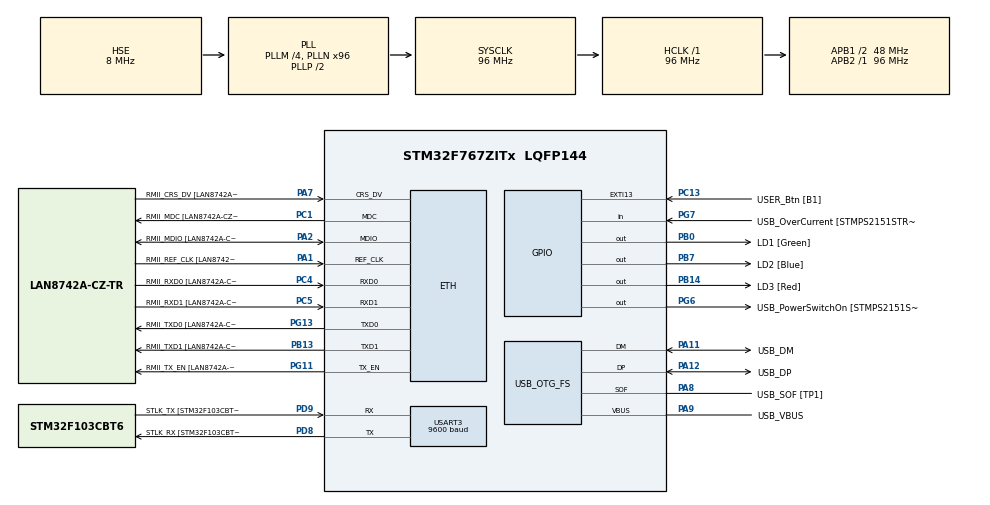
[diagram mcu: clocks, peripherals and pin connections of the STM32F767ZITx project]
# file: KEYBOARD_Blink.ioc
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ETH.MediaInterface=HAL_ETH_RMII_MODE
ETH.PHY_Name=LAN8742A_PHY_ADDRESS
ETH.PHY_Value=0
ETH.PhyAddress=0
Mcu.Family=STM32F7
Mcu.Name=STM32F767ZITx
Mcu.Package=LQFP144
NVIC.PriorityGroup=NVIC_PRIORITYGROUP_4
NVIC.USART3_IRQn=true\:0\:0\:false\:false\:true\:true\:true\:true
PA1.GPIO_Label=RMII_REF_CLK [LAN8742A-CZ-TR_REFCLK0]
PA1.Mode=RMII
PA1.Signal=ETH_REF_CLK
PA10.GPIO_Label=USB_ID
PA10.Signal=USB_OTG_FS_ID
PA11.GPIO_Label=USB_DM
PA11.Mode=Device_Only
PA11.Signal=USB_OTG_FS_DM
PA12.GPIO_Label=USB_DP
PA12.Mode=Device_Only
PA12.Signal=USB_OTG_FS_DP
PA13.GPIO_Label=TMS
PA13.Mode=Serial_Wire
PA13.Signal=SYS_JTMS-SWDIO
PA14.GPIO_Label=TCK
PA14.Mode=Serial_Wire
PA14.Signal=SYS_JTCK-SWCLK
PA2.GPIO_Label=RMII_MDIO [LAN8742A-CZ-TR_MDIO]
PA2.Mode=RMII
PA2.Signal=ETH_MDIO
PA7.GPIO_Label=RMII_CRS_DV [LAN8742A-CZ-TR_CRS_DV]
PA7.Mode=RMII
PA7.Signal=ETH_CRS_DV
PA8.GPIO_Label=USB_SOF [TP1]
PA8.Mode=Activate_SOF_FS
PA8.Signal=USB_OTG_FS_SOF
PA9.GPIO_Label=USB_VBUS
PA9.Mode=Activate_VBUS
PA9.Signal=USB_OTG_FS_VBUS
PB0.GPIO_Label=LD1 [Green]
PB0.Signal=GPIO_Output
PB13.GPIO_Label=RMII_TXD1 [LAN8742A-CZ-TR_TXD1]
PB13.Mode=RMII
PB13.Signal=ETH_TXD1
PB14.GPIO_Label=LD3 [Red]
PB14.Signal=GPIO_Output
PB3.GPIO_Label=SWO
PB3.Signal=SYS_JTDO-SWO
PB7.GPIO_Label=LD2 [Blue]
PB7.Signal=GPIO_Output
PC1.GPIO_Label=RMII_MDC [LAN8742A-CZ-TR_MDC]
PC1.Mode=RMII
PC1.Signal=ETH_MDC
PC13.GPIO_Label=USER_Btn [B1]
PC13.Signal=GPXTI13
PC14/OSC32_IN.Mode=LSE-External-Oscillator
PC14/OSC32_IN.Signal=RCC_OSC32_IN
PC15/OSC32_OUT.Mode=LSE-External-Oscillator
PC15/OSC32_OUT.Signal=RCC_OSC32_OUT
PC4.GPIO_Label=RMII_RXD0 [LAN8742A-CZ-TR_RXD0]
PC4.Mode=RMII
PC4.Signal=ETH_RXD0
PC5.GPIO_Label=RMII_RXD1 [LAN8742A-CZ-TR_RXD1]
PC5.Mode=RMII
PC5.Signal=ETH_RXD1
PD8.GPIO_Label=STLK_RX [STM32F103CBT6_PA3]
PD8.Mode=Asynchronous
PD8.Signal=USART3_TX
PD9.GPIO_Label=STLK_TX [STM32F103CBT6_PA2]
PD9.Mode=Asynchronous
PD9.Signal=USART3_RX
PG11.GPIO_Label=RMII_TX_EN [LAN8742A-CZ-TR_TXEN]
PG11.Mode=RMII
PG11.Signal=ETH_TX_EN
PG13.GPIO_Label=RMII_TXD0 [LAN8742A-CZ-TR_TXD0]
PG13.Mode=RMII
PG13.Signal=ETH_TXD0
PG6.GPIO_Label=USB_PowerSwitchOn [STMPS2151STR_EN]
PG6.Signal=GPIO_Output
PG7.GPIO_Label=USB_OverCurrent [STMPS2151STR_FAULT]
PG7.Signal=GPIO_Input
PH0/OSC_IN.GPIO_Label=MCO [STM32F103CBT6_PA8]
PH0/OSC_IN.Mode=HSE-External-Clock-Source
PH0/OSC_IN.Signal=RCC_OSC_IN
PH1/OSC_OUT.Mode=HSE-External-Clock-Source
PH1/OSC_OUT.Signal=RCC_OSC_OUT
ProjectManager.HeapSize=0x200
ProjectManager.StackSize=0x400
ProjectManager.TargetToolchain=STM32CubeIDE
RCC.48MHZClocksFreq_Value=24000000
RCC.AHBFreq_Value=96000000
RCC.APB1CLKDivider=RCC_HCLK_DIV2
RCC.APB1Freq_Value=48000000
RCC.APB1TimFreq_Value=96000000
RCC.APB2Freq_Value=96000000
RCC.APB2TimFreq_Value=96000000
RCC.CortexFreq_Value=96000000
RCC.HCLKFreq_Value=96000000
RCC.HSE_VALUE=8000000
RCC.HSI_VALUE=16000000
RCC.PLLM=4
RCC.PLLMUL=RCC_PLL_MUL9
RCC.PLLN=96
RCC.PLLQ=4
RCC.PRESCALERUSB=RCC_USBCLKSOURCE_PLL_DIV1_5
RCC.SYSCLKFreq_VALUE=96000000
RCC.SYSCLKSource=RCC_SYSCLKSOURCE_PLLCLK
RCC.SYSCLKSourceVirtual=RCC_SYSCLKSOURCE_PLLCLK
RCC.USBFreq_Value=48000000
RCC.VCOOutputFreq_Value=192000000
USART3.BaudRate=9600
USART3.VirtualMode-Asynchronous=VM_ASYNC
USB_OTG_FS.VirtualMode=Device_Only
board=NUCLEO-F767ZI

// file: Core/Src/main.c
/* USER CODE BEGIN Header */
/**
  ******************************************************************************
  * @file           : main.c
  * @brief          : Main program body
  ******************************************************************************
  * @attention
  *
  * Copyright (c) 2025 STMicroelectronics.
  * All rights reserved.
  *
  * This software is licensed under terms that can be found in the LICENSE file
  * in the root directory of this software component.
  * If no LICENSE file comes with this software, it is provided AS-IS.
  *
  ******************************************************************************
  */
/* USER CODE END Header */
#include "main.h"
#include "string.h"

#if defined ( __ICCARM__ ) /*!< IAR Compiler */
#pragma location=0x2007c000
ETH_DMADescTypeDef  DMARxDscrTab[ETH_RX_DESC_CNT]; /* Ethernet Rx DMA Descriptors */
#pragma location=0x2007c0a0
ETH_DMADescTypeDef  DMATxDscrTab[ETH_TX_DESC_CNT]; /* Ethernet Tx DMA Descriptors */

#elif defined ( __CC_ARM )  /* MDK ARM Compiler */

__attribute__((at(0x2007c000))) ETH_DMADescTypeDef  DMARxDscrTab[ETH_RX_DESC_CNT]; /* Ethernet Rx DMA Descriptors */
__attribute__((at(0x2007c0a0))) ETH_DMADescTypeDef  DMATxDscrTab[ETH_TX_DESC_CNT]; /* Ethernet Tx DMA Descriptors */

#elif defined ( __GNUC__ ) /* GNU Compiler */

ETH_DMADescTypeDef DMARxDscrTab[ETH_RX_DESC_CNT] __attribute__((section(".RxDecripSection"))); /* Ethernet Rx DMA Descriptors */
ETH_DMADescTypeDef DMATxDscrTab[ETH_TX_DESC_CNT] __attribute__((section(".TxDecripSection")));   /* Ethernet Tx DMA Descriptors */
#endif

ETH_TxPacketConfig TxConfig;

ETH_HandleTypeDef heth;

UART_HandleTypeDef huart3;

PCD_HandleTypeDef hpcd_USB_OTG_FS;

void SystemClock_Config(void);
static void MX_GPIO_Init(void);
static void MX_ETH_Init(void);
static void MX_USB_OTG_FS_PCD_Init(void);
static void MX_USART3_UART_Init(void);

/* USER CODE BEGIN 0 */
uint8_t rx_byte;

void HAL_UART_RxCpltCallback(UART_HandleTypeDef *huart) {
    if (huart->Instance == USART3) {   // did this callback come from USART2?
        switch (rx_byte) {
            case '1':
                HAL_GPIO_WritePin(GPIOB, GPIO_PIN_14, GPIO_PIN_SET);
                break;
            case '2':
                HAL_GPIO_WritePin(GPIOB, GPIO_PIN_14, GPIO_PIN_RESET);
                break;
            case '3':
                HAL_GPIO_TogglePin(GPIOB, GPIO_PIN_14);
                break;
        }

        // Start listening for next byte
        HAL_UART_Receive_IT(&huart3, &rx_byte, 1);
    }
}

/* USER CODE END 0 */

int main(void)
{

  /* MCU Configuration--------------------------------------------------------*/

  /* Reset of all peripherals, Initializes the Flash interface and the Systick. */
  HAL_Init();

  /* Configure the system clock */
  SystemClock_Config();

  /* Initialize all configured peripherals */
  MX_GPIO_Init();
  MX_ETH_Init();
  MX_USB_OTG_FS_PCD_Init();
  MX_USART3_UART_Init();
  /* USER CODE BEGIN 2 */
  HAL_UART_Receive_IT(&huart3, &rx_byte, 1);

  /* USER CODE END 2 */

  /* Infinite loop */
  while (1)
  {

  }
}

void SystemClock_Config(void)
{
  RCC_OscInitTypeDef RCC_OscInitStruct = {0};
  RCC_ClkInitTypeDef RCC_ClkInitStruct = {0};

  /** Configure LSE Drive Capability
  */
  HAL_PWR_EnableBkUpAccess();

  /** Configure the main internal regulator output voltage
  */
  __HAL_RCC_PWR_CLK_ENABLE();
  __HAL_PWR_VOLTAGESCALING_CONFIG(PWR_REGULATOR_VOLTAGE_SCALE3);

  /** Initializes the RCC Oscillators according to the specified parameters
  * in the RCC_OscInitTypeDef structure.
  */
  RCC_OscInitStruct.OscillatorType = RCC_OSCILLATORTYPE_HSE;
  RCC_OscInitStruct.HSEState = RCC_HSE_BYPASS;
  RCC_OscInitStruct.PLL.PLLState = RCC_PLL_ON;
  RCC_OscInitStruct.PLL.PLLSource = RCC_PLLSOURCE_HSE;
  RCC_OscInitStruct.PLL.PLLM = 4;
  RCC_OscInitStruct.PLL.PLLN = 96;
  RCC_OscInitStruct.PLL.PLLP = RCC_PLLP_DIV2;
  RCC_OscInitStruct.PLL.PLLQ = 4;
  RCC_OscInitStruct.PLL.PLLR = 2;
  if (HAL_RCC_OscConfig(&RCC_OscInitStruct) != HAL_OK)
  {
    Error_Handler();
  }

  /** Activate the Over-Drive mode
  */
  if (HAL_PWREx_EnableOverDrive() != HAL_OK)
  {
    Error_Handler();
  }

  /** Initializes the CPU, AHB and APB buses clocks
  */
  RCC_ClkInitStruct.ClockType = RCC_CLOCKTYPE_HCLK|RCC_CLOCKTYPE_SYSCLK
                              |RCC_CLOCKTYPE_PCLK1|RCC_CLOCKTYPE_PCLK2;
  RCC_ClkInitStruct.SYSCLKSource = RCC_SYSCLKSOURCE_PLLCLK;
  RCC_ClkInitStruct.AHBCLKDivider = RCC_SYSCLK_DIV1;
  RCC_ClkInitStruct.APB1CLKDivider = RCC_HCLK_DIV2;
  RCC_ClkInitStruct.APB2CLKDivider = RCC_HCLK_DIV1;

  if (HAL_RCC_ClockConfig(&RCC_ClkInitStruct, FLASH_LATENCY_3) != HAL_OK)
  {
    Error_Handler();
  }
}

static void MX_ETH_Init(void)
{

   static uint8_t MACAddr[6];

  heth.Instance = ETH;
  MACAddr[0] = 0x00;
  MACAddr[1] = 0x80;
  MACAddr[2] = 0xE1;
  MACAddr[3] = 0x00;
  MACAddr[4] = 0x00;
  MACAddr[5] = 0x00;
  heth.Init.MACAddr = &MACAddr[0];
  heth.Init.MediaInterface = HAL_ETH_RMII_MODE;
  heth.Init.TxDesc = DMATxDscrTab;
  heth.Init.RxDesc = DMARxDscrTab;
  heth.Init.RxBuffLen = 1524;

  if (HAL_ETH_Init(&heth) != HAL_OK)
  {
    Error_Handler();
  }

  memset(&TxConfig, 0 , sizeof(ETH_TxPacketConfig));
  TxConfig.Attributes = ETH_TX_PACKETS_FEATURES_CSUM | ETH_TX_PACKETS_FEATURES_CRCPAD;
  TxConfig.ChecksumCtrl = ETH_CHECKSUM_IPHDR_PAYLOAD_INSERT_PHDR_CALC;
  TxConfig.CRCPadCtrl = ETH_CRC_PAD_INSERT;

}

static void MX_USART3_UART_Init(void)
{

  huart3.Instance = USART3;
  huart3.Init.BaudRate = 9600;
  huart3.Init.WordLength = UART_WORDLENGTH_8B;
  huart3.Init.StopBits = UART_STOPBITS_1;
  huart3.Init.Parity = UART_PARITY_NONE;
  huart3.Init.Mode = UART_MODE_TX_RX;
  huart3.Init.HwFlowCtl = UART_HWCONTROL_NONE;
  huart3.Init.OverSampling = UART_OVERSAMPLING_16;
  huart3.Init.OneBitSampling = UART_ONE_BIT_SAMPLE_DISABLE;
  huart3.AdvancedInit.AdvFeatureInit = UART_ADVFEATURE_NO_INIT;
  if (HAL_UART_Init(&huart3) != HAL_OK)
  {
    Error_Handler();
  }

}

static void MX_USB_OTG_FS_PCD_Init(void)
{

  hpcd_USB_OTG_FS.Instance = USB_OTG_FS;
  hpcd_USB_OTG_FS.Init.dev_endpoints = 6;
  hpcd_USB_OTG_FS.Init.speed = PCD_SPEED_FULL;
  hpcd_USB_OTG_FS.Init.dma_enable = DISABLE;
  hpcd_USB_OTG_FS.Init.phy_itface = PCD_PHY_EMBEDDED;
  hpcd_USB_OTG_FS.Init.Sof_enable = ENABLE;
  hpcd_USB_OTG_FS.Init.low_power_enable = DISABLE;
  hpcd_USB_OTG_FS.Init.lpm_enable = DISABLE;
  hpcd_USB_OTG_FS.Init.vbus_sensing_enable = ENABLE;
  hpcd_USB_OTG_FS.Init.use_dedicated_ep1 = DISABLE;
  if (HAL_PCD_Init(&hpcd_USB_OTG_FS) != HAL_OK)
  {
    Error_Handler();
  }

}

static void MX_GPIO_Init(void)
{
  GPIO_InitTypeDef GPIO_InitStruct = {0};

  /* GPIO Ports Clock Enable */
  __HAL_RCC_GPIOC_CLK_ENABLE();
  __HAL_RCC_GPIOH_CLK_ENABLE();
  __HAL_RCC_GPIOA_CLK_ENABLE();
  __HAL_RCC_GPIOB_CLK_ENABLE();
  __HAL_RCC_GPIOD_CLK_ENABLE();
  __HAL_RCC_GPIOG_CLK_ENABLE();

  /*Configure GPIO pin Output Level */
  HAL_GPIO_WritePin(GPIOB, LD1_Pin|LD3_Pin|LD2_Pin, GPIO_PIN_RESET);

  /*Configure GPIO pin Output Level */
  HAL_GPIO_WritePin(USB_PowerSwitchOn_GPIO_Port, USB_PowerSwitchOn_Pin, GPIO_PIN_RESET);

  /*Configure GPIO pin : USER_Btn_Pin */
  GPIO_InitStruct.Pin = USER_Btn_Pin;
  GPIO_InitStruct.Mode = GPIO_MODE_IT_RISING;
  GPIO_InitStruct.Pull = GPIO_NOPULL;
  HAL_GPIO_Init(USER_Btn_GPIO_Port, &GPIO_InitStruct);

  /*Configure GPIO pins : LD1_Pin LD3_Pin LD2_Pin */
  GPIO_InitStruct.Pin = LD1_Pin|LD3_Pin|LD2_Pin;
  GPIO_InitStruct.Mode = GPIO_MODE_OUTPUT_PP;
  GPIO_InitStruct.Pull = GPIO_NOPULL;
  GPIO_InitStruct.Speed = GPIO_SPEED_FREQ_LOW;
  HAL_GPIO_Init(GPIOB, &GPIO_InitStruct);

  /*Configure GPIO pin : USB_PowerSwitchOn_Pin */
  GPIO_InitStruct.Pin = USB_PowerSwitchOn_Pin;
  GPIO_InitStruct.Mode = GPIO_MODE_OUTPUT_PP;
  GPIO_InitStruct.Pull = GPIO_NOPULL;
  GPIO_InitStruct.Speed = GPIO_SPEED_FREQ_LOW;
  HAL_GPIO_Init(USB_PowerSwitchOn_GPIO_Port, &GPIO_InitStruct);

  /*Configure GPIO pin : USB_OverCurrent_Pin */
  GPIO_InitStruct.Pin = USB_OverCurrent_Pin;
  GPIO_InitStruct.Mode = GPIO_MODE_INPUT;
  GPIO_InitStruct.Pull = GPIO_NOPULL;
  HAL_GPIO_Init(USB_OverCurrent_GPIO_Port, &GPIO_InitStruct);

}

void Error_Handler(void)
{
  __disable_irq();
  while (1)
  {
  }
}
